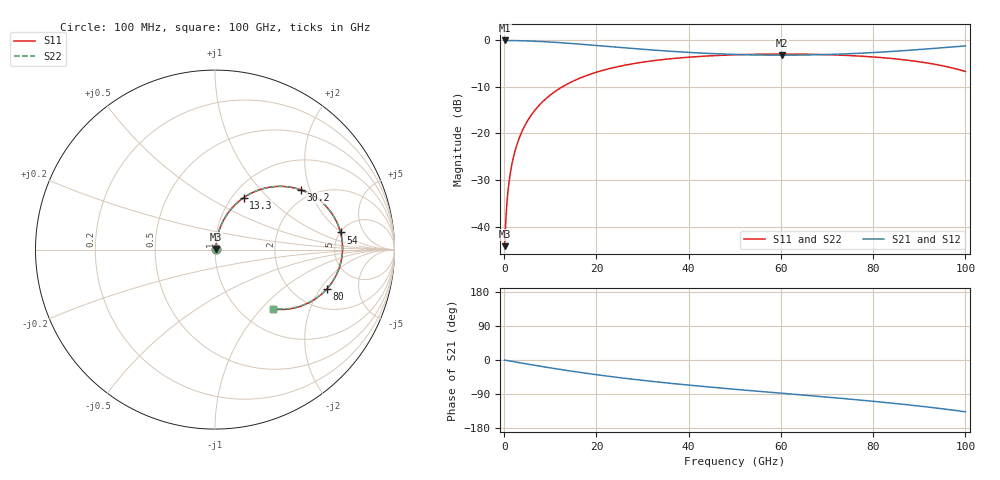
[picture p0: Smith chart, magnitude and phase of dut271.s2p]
! Touchstone file exported from HFSS 2026.1.0
!  File:  C:/ffzhzh/LocalFiles/Ansys_Project_Files/temp_train_RDL_271_1783501858_41296.aedt
!  Generated:  05:12:15 PM Jul  8, 2026
!  Design:  RDL
!  Project:  temp_train_RDL_271_1783501858_41296
! Variables:
!  h_bsmrdl = 2um
!  h_ox = 20um
!  h_rdl = 5um
!  h_sub = 80um
!  h_tmrdl = 2.63um
!  h_tsv = 80um
!  h_via = 3um
!  l_bsmrdl = 300um
!  l_sub = 879.57um
!  l_tmrdl = 479.57um
!  m_sub = 200um
!  pitch = 47.7um
!  r_tsv = 6um
!  s_tmrdl = 10um
!  w_bsmrdl = 18um
!  w_sub = 500um
!  w_tmrdl = 11.99um
!  x_tsv_center1 = 485.565um
!  x_tsv_center2 = 803.565um
!  x_tsv_center3 = 1295.125um
!  x_tsv_center4 = 1613.125um
!  x_tsv_center5 = 2104.685um
!  x_tsv_center6 = 2422.685um
# GHz S MA R 50.000000
! Terminal data exported
! Port[1] = TM_RDL1_1_T1
! Port[2] = TM_RDL1_1_T2
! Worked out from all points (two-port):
!   1000 points, 100 MHz to 100 GHz, reference 50 ohm
!   highest |S21| = -0.05 dB at 100 MHz (marker M1); lowest = -3.2 dB at 60.3 GHz (marker M2)
!   |S21| within 3 dB of the highest: start of sweep to 50.06 GHz; 70.57 GHz to end of sweep
!   lowest |S11| = -44.2 dB at 100 MHz (marker M3), VSWR 1.01, Z = 50.5 + j0.287 ohm
!   |S11| at or under -10 dB: start of sweep to 12.62 GHz
!   |S22| runs from -44.2 to -3.0 dB; largest |S21 - S12| = 3e-14
!   S11 on the Smith chart (normalised r, x): 100 MHz: 1.01, +0.01; 13.3 GHz: 1.13, +0.73; 30.2 GHz: 1.73, +1.74; 54 GHz: 5.04, +1.92; 80 GHz: 2.99, -2.31; 100 GHz: 1.38, -1.17
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0.1  0.006168 27.4  0.9945 -0.2  0.9945 -0.2  0.006168 27.4
! Gamma 0 0 0 0
! Port Impedance 50 0 50 0
0.9  0.02582 74.4  0.9936 -2.0  0.9936 -2.0  0.02582 74.4
1.4  0.03915 77.6  0.9929 -3.0  0.9929 -3.0  0.03915 77.7
2.3  0.06322 79.0  0.9914 -4.9  0.9914 -4.9  0.06322 79.0
3.5  0.0952 78.3  0.9885 -7.5  0.9885 -7.5  0.0952 78.3
5.2  0.1398 75.9  0.9826 -11.0  0.9826 -11.0  0.1398 75.9
7.4  0.1956 72.0  0.9723 -15.6  0.9723 -15.6  0.1956 72.0
10.1  0.2603 67.0  0.956 -20.9  0.956 -20.9  0.2603 67.0
13.3  0.3306 61.1  0.933 -27.0  0.933 -27.0  0.3306 61.1
16.8  0.399 54.9  0.9051 -33.3  0.9051 -33.3  0.399 55.0
23.1  0.4999 44.8  0.853 -43.7  0.853 -43.7  0.4999 44.9
30.2  0.5834 34.7  0.7988 -54.0  0.7988 -54.0  0.5834 34.8
33.4  0.6122 30.6  0.7774 -58.2  0.7774 -58.2  0.6122 30.7
41.6  0.6661 20.9  0.733 -68.1  0.733 -68.1  0.6661 21.0
50.1  0.6979 11.8  0.704 -77.4  0.704 -77.4  0.6979 11.9
54  0.7058 7.8  0.6964 -81.4  0.6964 -81.4  0.7058 7.9
60.3  0.7107 1.4  0.6918 -87.9  0.6918 -87.9  0.7107 1.6
66.7  0.706 -5.0  0.6966 -94.4  0.6966 -94.4  0.7061 -4.8
80  0.6616 -19.2  0.7373 -109.0  0.7373 -109.0  0.6616 -19.0
83.4  0.6411 -23.1  0.7544 -113.0  0.7544 -113.0  0.6411 -22.9
92.5  0.5616 -34.8  0.8123 -125.1  0.8123 -125.1  0.5616 -34.5
100  0.4626 -45.8  0.869 -136.6  0.869 -136.6  0.4627 -45.4
